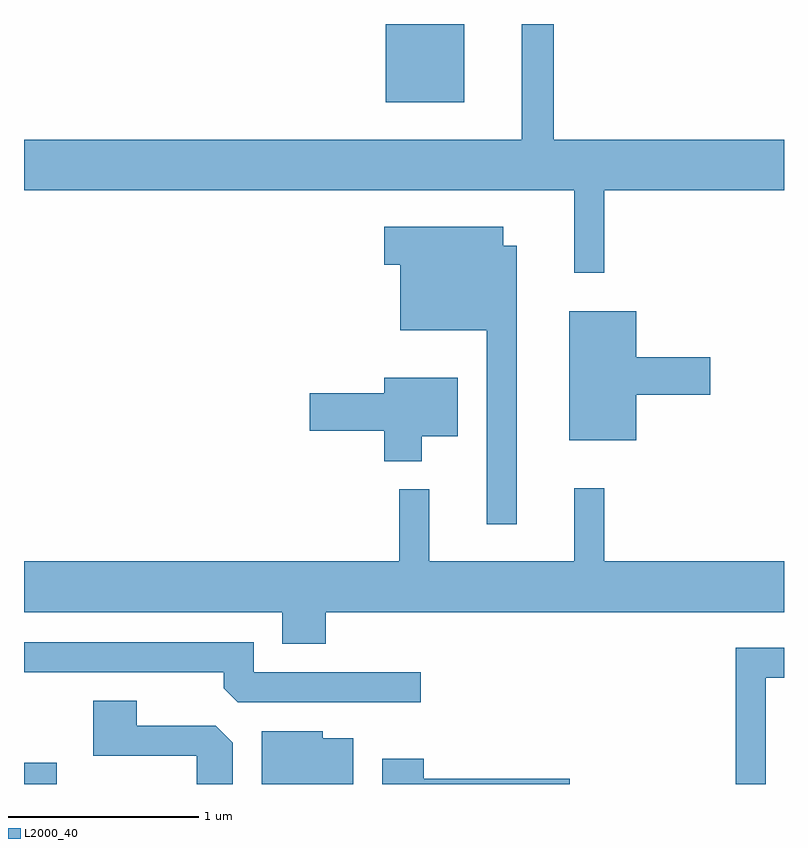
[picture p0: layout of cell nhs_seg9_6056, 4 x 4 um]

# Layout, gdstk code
import gdstk
lib = gdstk.Library(unit=1e-6, precision=1e-09)
def R(c, l, rs):  # rectangles x0, y0, x1, y1
    for r in rs: c.add(gdstk.rectangle(r[:2], r[2:], *l))
def P(c, l, *ps):  # polygons
    for p in ps: c.add(gdstk.Polygon(p, *l))
L2000_40 = (2000, 40)

nhs_seg9_6056 = lib.new_cell('nhs_seg9_6056')
R(nhs_seg9_6056, L2000_40, [(363.611,2026.432,363.784,2026.544), (365.516,2030.021,365.929,2030.432)])
P(nhs_seg9_6056, L2000_40, [(366.664,2029.556),(367.611,2029.556),(367.611,2029.824),(366.399,2029.824),(366.399,2030.432),(366.231,2030.432),(366.231,2029.824),(363.611,2029.824),(363.611,2029.556),(366.506,2029.556),(366.506,2029.123),(366.664,2029.123)],
  [(366.204,2029.264),(366.134,2029.264),(366.134,2029.364),(365.506,2029.364),(365.506,2029.166),(365.591,2029.166),(365.591,2028.821),(366.046,2028.821),(366.046,2027.798),(366.204,2027.798)],
  [(366.834,2028.481),(367.224,2028.481),(367.224,2028.679),(366.834,2028.679),(366.834,2028.919),(366.481,2028.919),(366.481,2028.241),(366.834,2028.241)],
  [(365.704,2028.261),(365.894,2028.261),(365.894,2028.569),(365.506,2028.569),(365.506,2028.489),(365.116,2028.489),(365.116,2028.291),(365.506,2028.291),(365.506,2028.131),(365.704,2028.131)],
  [(365.199,2027.336),(367.611,2027.336),(367.611,2027.604),(366.664,2027.604),(366.664,2027.988),(366.506,2027.988),(366.506,2027.604),(365.744,2027.604),(365.744,2027.983),(365.586,2027.983),(365.586,2027.604),(363.611,2027.604),(363.611,2027.336),(364.971,2027.336),(364.971,2027.171),(365.199,2027.171)],
  [(365.698,2027.019),(364.819,2027.019),(364.819,2027.179),(363.611,2027.179),(363.611,2027.021),(364.661,2027.021),(364.661,2026.937),(364.737,2026.861),(365.698,2026.861)],
  [(367.514,2026.991),(367.611,2026.991),(367.611,2027.149),(367.356,2027.149),(367.356,2026.432),(367.514,2026.432)],
  [(364.709,2026.649),(364.619,2026.739),(364.204,2026.739),(364.204,2026.869),(363.976,2026.869),(363.976,2026.581),(364.521,2026.581),(364.521,2026.432),(364.709,2026.432)],
  [(365.344,2026.674),(365.184,2026.674),(365.184,2026.709),(364.861,2026.709),(364.861,2026.432),(365.344,2026.432)],
  [(366.484,2026.459),(365.714,2026.459),(365.714,2026.564),(365.496,2026.564),(365.496,2026.432),(366.484,2026.432)])

lib.write_gds('nhs_seg9_6056.gds')
